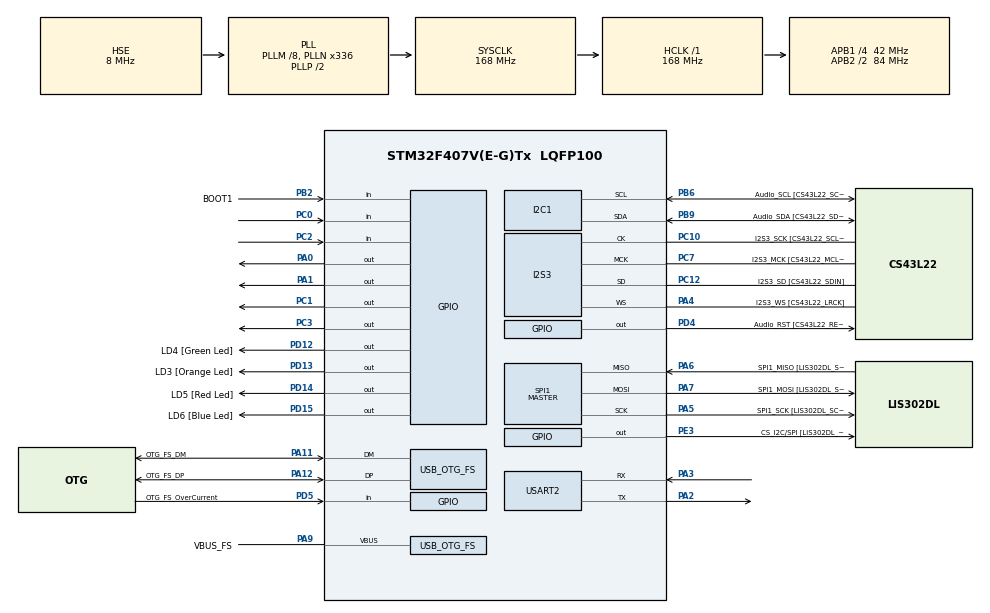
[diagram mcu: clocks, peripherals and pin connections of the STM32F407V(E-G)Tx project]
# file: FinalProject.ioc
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I2S3.AudioFreq-Half_Duplex_Master=I2S_AUDIOFREQ_96K
I2S3.ErrorAudioFreq=-2.34 %
I2S3.ErrorAudioFreq-Half_Duplex_Master=0.8 %
I2S3.FullDuplexMode=I2S_FULLDUPLEXMODE_DISABLE
I2S3.Instance=SPI$Index
I2S3.RealAudioFreq=93.75 KHz
I2S3.RealAudioFreq-Half_Duplex_Master=96.774 KHz
I2S3.VirtualMode=I2S_MODE_MASTER
Mcu.Family=STM32F4
Mcu.Name=STM32F407V(E-G)Tx
Mcu.Package=LQFP100
NVIC.OTG_FS_IRQn=true\:0\:0\:false\:false\:true\:true\:true
NVIC.PriorityGroup=NVIC_PRIORITYGROUP_2
NVIC.TIM3_IRQn=true\:0\:0\:false\:false\:true\:true\:true
NVIC.USART2_IRQn=true\:0\:0\:false\:false\:true\:true\:true
PA0-WKUP.Signal=GPIO_Output
PA1.Signal=GPIO_Output
PA10.GPIO_Label=OTG_FS_ID
PA10.GPIO_Mode=GPIO_MODE_AF_PP
PA10.GPIO_PuPd=GPIO_NOPULL
PA10.GPIO_Speed=GPIO_SPEED_FREQ_LOW
PA10.Signal=USB_OTG_FS_ID
PA11.GPIO_Label=OTG_FS_DM
PA11.GPIO_Mode=GPIO_MODE_AF_PP
PA11.GPIO_PuPd=GPIO_NOPULL
PA11.GPIO_Speed=GPIO_SPEED_FREQ_LOW
PA11.Mode=Host_Only
PA11.Signal=USB_OTG_FS_DM
PA12.GPIO_Label=OTG_FS_DP
PA12.GPIO_Mode=GPIO_MODE_AF_PP
PA12.GPIO_PuPd=GPIO_NOPULL
PA12.GPIO_Speed=GPIO_SPEED_FREQ_LOW
PA12.Mode=Host_Only
PA12.Signal=USB_OTG_FS_DP
PA13.GPIO_Label=SWDIO
PA13.Mode=Serial_Wire
PA13.Signal=SYS_JTMS-SWDIO
PA14.GPIO_Label=SWCLK
PA14.Mode=Serial_Wire
PA14.Signal=SYS_JTCK-SWCLK
PA2.Mode=Asynchronous
PA2.Signal=USART2_TX
PA3.Mode=Asynchronous
PA3.Signal=USART2_RX
PA4.GPIO_Label=I2S3_WS [CS43L22_LRCK]
PA4.GPIO_Mode=GPIO_MODE_AF_PP
PA4.GPIO_PuPd=GPIO_NOPULL
PA4.GPIO_Speed=GPIO_SPEED_FREQ_LOW
PA4.Mode=Half_Duplex_Master
PA4.Signal=I2S3_WS
PA5.GPIO_Label=SPI1_SCK [LIS302DL_SCL/SPC]
PA5.GPIO_Mode=GPIO_MODE_AF_PP
PA5.GPIO_PuPd=GPIO_NOPULL
PA5.GPIO_Speed=GPIO_SPEED_FREQ_LOW
PA5.Mode=Full_Duplex_Master
PA5.Signal=SPI1_SCK
PA6.GPIO_Label=SPI1_MISO [LIS302DL_SDO]
PA6.GPIO_Mode=GPIO_MODE_AF_PP
PA6.GPIO_PuPd=GPIO_NOPULL
PA6.GPIO_Speed=GPIO_SPEED_FREQ_LOW
PA6.Mode=Full_Duplex_Master
PA6.Signal=SPI1_MISO
PA7.GPIO_Label=SPI1_MOSI [LIS302DL_SDA/SDI/SDO]
PA7.GPIO_Mode=GPIO_MODE_AF_PP
PA7.GPIO_PuPd=GPIO_NOPULL
PA7.GPIO_Speed=GPIO_SPEED_FREQ_LOW
PA7.Mode=Full_Duplex_Master
PA7.Signal=SPI1_MOSI
PA9.GPIO_Label=VBUS_FS
PA9.GPIO_Mode=GPIO_MODE_INPUT
PA9.GPIO_PuPd=GPIO_NOPULL
PA9.Mode=Activate_VBUS
PA9.Signal=USB_OTG_FS_VBUS
PB10.GPIO_Label=CLK_IN [MP45DT02_CLK]
PB10.GPIO_Mode=GPIO_MODE_AF_PP
PB10.GPIO_PuPd=GPIO_NOPULL
PB10.GPIO_Speed=GPIO_SPEED_FREQ_LOW
PB10.Signal=I2S2_CK
PB2.GPIO_Label=BOOT1
PB2.GPIO_Mode=GPIO_MODE_INPUT
PB2.GPIO_PuPd=GPIO_NOPULL
PB2.Signal=GPIO_Input
PB3.GPIO_Label=SWO
PB3.Signal=SYS_JTDO-SWO
PB6.GPIO_Label=Audio_SCL [CS43L22_SCL]
PB6.GPIO_Mode=GPIO_MODE_AF_OD
PB6.GPIO_PuPd=GPIO_NOPULL
PB6.GPIO_Speed=GPIO_SPEED_FREQ_LOW
PB6.Mode=I2C
PB6.Signal=I2C1_SCL
PB9.GPIO_Label=Audio_SDA [CS43L22_SDA]
PB9.GPIO_Mode=GPIO_MODE_AF_OD
PB9.GPIO_PuPd=GPIO_NOPULL
PB9.GPIO_Speed=GPIO_SPEED_FREQ_LOW
PB9.Mode=I2C
PB9.Signal=I2C1_SDA
PC0.Signal=GPIO_Input
PC1.Signal=GPIO_Output
PC10.GPIO_Label=I2S3_SCK [CS43L22_SCLK]
PC10.GPIO_Mode=GPIO_MODE_AF_PP
PC10.GPIO_PuPd=GPIO_NOPULL
PC10.GPIO_Speed=GPIO_SPEED_FREQ_LOW
PC10.Mode=Half_Duplex_Master
PC10.Signal=I2S3_CK
PC12.GPIO_Label=I2S3_SD [CS43L22_SDIN]
PC12.GPIO_Mode=GPIO_MODE_AF_PP
PC12.GPIO_PuPd=GPIO_NOPULL
PC12.GPIO_Speed=GPIO_SPEED_FREQ_LOW
PC12.Mode=Half_Duplex_Master
PC12.Signal=I2S3_SD
PC14-OSC32_IN.GPIO_Label=PC14-OSC32_IN
PC14-OSC32_IN.Mode=LSE-External-Oscillator
PC14-OSC32_IN.Signal=RCC_OSC32_IN
PC15-OSC32_OUT.GPIO_Label=PC15-OSC32_OUT
PC15-OSC32_OUT.Mode=LSE-External-Oscillator
PC15-OSC32_OUT.Signal=RCC_OSC32_OUT
PC2.Signal=GPIO_Input
PC3.Signal=GPIO_Output
PC7.GPIO_Label=I2S3_MCK [CS43L22_MCLK]
PC7.GPIO_Mode=GPIO_MODE_AF_PP
PC7.GPIO_PuPd=GPIO_NOPULL
PC7.GPIO_Speed=GPIO_SPEED_FREQ_LOW
PC7.Mode=Master_Clock_Activated
PC7.Signal=I2S3_MCK
PC9.Signal=S_TIM3_CH4
PD12.GPIO_Label=LD4 [Green Led]
PD12.GPIO_PuPd=GPIO_NOPULL
PD12.GPIO_Speed=GPIO_SPEED_FREQ_LOW
PD12.Signal=GPIO_Output
PD13.GPIO_Label=LD3 [Orange Led]
PD13.GPIO_PuPd=GPIO_NOPULL
PD13.GPIO_Speed=GPIO_SPEED_FREQ_LOW
PD13.Signal=GPIO_Output
PD14.GPIO_Label=LD5 [Red Led]
PD14.GPIO_PuPd=GPIO_NOPULL
PD14.GPIO_Speed=GPIO_SPEED_FREQ_LOW
PD14.Signal=GPIO_Output
PD15.GPIO_Label=LD6 [Blue Led]
PD15.GPIO_PuPd=GPIO_NOPULL
PD15.GPIO_Speed=GPIO_SPEED_FREQ_LOW
PD15.Signal=GPIO_Output
PD4.GPIO_Label=Audio_RST [CS43L22_RESET]
PD4.GPIO_PuPd=GPIO_NOPULL
PD4.GPIO_Speed=GPIO_SPEED_FREQ_LOW
PD4.Signal=GPIO_Output
PD5.GPIO_Label=OTG_FS_OverCurrent
PD5.GPIO_Mode=GPIO_MODE_INPUT
PD5.GPIO_PuPd=GPIO_NOPULL
PD5.Signal=GPIO_Input
PE3.GPIO_Label=CS_I2C/SPI [LIS302DL_CS_I2C/SPI]
PE3.GPIO_PuPd=GPIO_NOPULL
PE3.GPIO_Speed=GPIO_SPEED_FREQ_LOW
PE3.Signal=GPIO_Output
PH0-OSC_IN.GPIO_Label=PH0-OSC_IN
PH0-OSC_IN.Mode=HSE-External-Oscillator
PH0-OSC_IN.Signal=RCC_OSC_IN
PH1-OSC_OUT.GPIO_Label=PH1-OSC_OUT
PH1-OSC_OUT.Mode=HSE-External-Oscillator
PH1-OSC_OUT.Signal=RCC_OSC_OUT
ProjectManager.HeapSize=0x200
ProjectManager.StackSize=0x400
ProjectManager.TargetToolchain=STM32CubeIDE
RCC.48MHZClocksFreq_Value=48000000
RCC.AHBFreq_Value=168000000
RCC.APB1CLKDivider=RCC_HCLK_DIV4
RCC.APB1Freq_Value=42000000
RCC.APB1TimFreq_Value=84000000
RCC.APB2CLKDivider=RCC_HCLK_DIV2
RCC.APB2Freq_Value=84000000
RCC.APB2TimFreq_Value=168000000
RCC.CortexFreq_Value=168000000
RCC.HCLKFreq_Value=168000000
RCC.HSE_VALUE=8000000
RCC.HSI_VALUE=16000000
RCC.PLLM=8
RCC.PLLN=336
RCC.PLLQ=7
RCC.SYSCLKFreq_VALUE=168000000
RCC.SYSCLKSource=RCC_SYSCLKSOURCE_PLLCLK
RCC.VCOOutputFreq_Value=336000000
SH.S_TIM3_CH4.0=TIM3_CH4
SPI1.BaudRatePrescaler-Full_Duplex_Master=SPI_BAUDRATEPRESCALER_2
SPI1.CalculateBaudRate-Full_Duplex_Master=42.0 MBits/s
SPI1.Direction=SPI_DIRECTION_2LINES
SPI1.Mode=SPI_MODE_MASTER
SPI1.Mode-Full_Duplex_Master=SPI_MODE_MASTER
SPI1.VirtualType=VM_MASTER
TIM3.AutoReloadPreload=TIM_AUTORELOAD_PRELOAD_ENABLE
TIM3.Channel-PWM\ Generation4\ No\ Output=TIM_CHANNEL_4
TIM3.Period=99
TIM3.Prescaler=84
TIM4.AutoReloadPreload=TIM_AUTORELOAD_PRELOAD_ENABLE
TIM4.Channel-PWM\ Generation1\ No\ Output=TIM_CHANNEL_1
TIM4.Period=99
TIM4.Prescaler=84
USART2.VirtualMode=VM_ASYNC
USB_HOST.USBH_HandleTypeDef-CDC_FS=hUsbHostFS
USB_HOST.VirtualModeFS=Cdc
USB_OTG_FS.VirtualMode=Host_Only
USB_OTG_FS.phy_itface=HCD_PHY_EMBEDDED
VP_TIM3_VS_ClockSourceINT.Mode=Internal
VP_TIM3_VS_no_output4.Mode=PWM Generation4 No Output
VP_TIM4_VS_ClockSourceINT.Mode=Internal
VP_TIM4_VS_no_output1.Mode=PWM Generation1 No Output
VP_USB_HOST_VS_USB_HOST_CDC_FS.Mode=CDC_FS
board=STM32F4DISCOVERY

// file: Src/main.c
/* USER CODE BEGIN Header */
/**
 ******************************************************************************
 * @file           : main.c
 * @brief          : Main program body
 ******************************************************************************
 * @attention
 *
 * <h2><center>&copy; Copyright (c) 2019 STMicroelectronics.
 * All rights reserved.</center></h2>
 *
 * This software component is licensed by ST under Ultimate Liberty license
 * SLA0044, the "License"; You may not use this file except in compliance with
 * the License. You may obtain a copy of the License at:
 *                             www.st.com/SLA0044
 *
 ******************************************************************************
 */
/* USER CODE END Header */

#include "main.h"
#include "usb_host.h"

/* USER CODE BEGIN PD */
#define READY 10
#define IN_USE 11
#define WAITING 12
/* USER CODE END PD */

I2C_HandleTypeDef hi2c1;

I2S_HandleTypeDef hi2s3;

SPI_HandleTypeDef hspi1;

TIM_HandleTypeDef htim3;
TIM_HandleTypeDef htim4;

UART_HandleTypeDef huart2;

/* USER CODE BEGIN PV */
char slots[2] = { '0', '0' };
char buf[2] = { '0', '0' };
uint32_t sensor_1_time, sensor_2_time, state1, state2;
/* USER CODE END PV */

void SystemClock_Config(void);
static void MX_GPIO_Init(void);
static void MX_I2C1_Init(void);
static void MX_I2S3_Init(void);
static void MX_SPI1_Init(void);
static void MX_USART2_UART_Init(void);
static void MX_TIM3_Init(void);
static void MX_TIM4_Init(void);
void MX_USB_HOST_Process(void);

/* USER CODE BEGIN PFP */

uint32_t Slot1() {
	uint32_t local_time = 0;

	HAL_GPIO_WritePin(GPIOC, GPIO_PIN_1, GPIO_PIN_SET);
	HAL_Delay(10);
	HAL_GPIO_WritePin(GPIOC, GPIO_PIN_1, GPIO_PIN_RESET);

	while (!(HAL_GPIO_ReadPin(GPIOC, GPIO_PIN_0)))
		;

	while (HAL_GPIO_ReadPin(GPIOC, GPIO_PIN_0)) {
		local_time++;
		HAL_Delay(1);
	}

	return local_time * 2;
}

uint32_t Slot2() {
	uint32_t local_time = 0;

	HAL_GPIO_WritePin(GPIOC, GPIO_PIN_3, GPIO_PIN_SET);
	HAL_Delay(10);
	HAL_GPIO_WritePin(GPIOC, GPIO_PIN_3, GPIO_PIN_RESET);

	while (!(HAL_GPIO_ReadPin(GPIOC, GPIO_PIN_2)))
		;

	while (HAL_GPIO_ReadPin(GPIOC, GPIO_PIN_2)) {
		local_time++;
		HAL_Delay(1);
	}

	return local_time * 2;
}

/* USER CODE END PFP */

int main(void)
{

  /* MCU Configuration--------------------------------------------------------*/

  /* Reset of all peripherals, Initializes the Flash interface and the Systick. */
  HAL_Init();

  /* Configure the system clock */
  SystemClock_Config();

  /* Initialize all configured peripherals */
  MX_GPIO_Init();
  MX_I2C1_Init();
  MX_I2S3_Init();
  MX_SPI1_Init();
  MX_USB_HOST_Init();
  MX_USART2_UART_Init();
  MX_TIM3_Init();
  MX_TIM4_Init();
  /* USER CODE BEGIN 2 */
  HAL_TIM_Base_Start_IT(&htim3);

  /* USER CODE END 2 */

  /* Infinite loop */
  /* USER CODE BEGIN WHILE */
  state1 = READY;
  state2 = READY;
	while (1) {
		sensor_1_time = Slot1();
		sensor_2_time = Slot2();

		if (sensor_1_time <= 2)
			slots[0] = '1';
		else
			slots[0] = '0';
		if (sensor_2_time <= 2)
			slots[1] = '1';
		else
			slots[1] = '0';

		if (state1 == IN_USE)
			HAL_GPIO_WritePin(GPIOA, GPIO_PIN_0, GPIO_PIN_RESET);
		else if (state1 == WAITING)
			HAL_GPIO_TogglePin(GPIOA, GPIO_PIN_0);
		else
			HAL_GPIO_WritePin(GPIOA, GPIO_PIN_0, GPIO_PIN_SET);

		if (state2 == IN_USE)
			HAL_GPIO_WritePin(GPIOA, GPIO_PIN_1, GPIO_PIN_RESET);
		else if (state2 == WAITING)
			HAL_GPIO_TogglePin(GPIOA, GPIO_PIN_1);
		else
			HAL_GPIO_WritePin(GPIOA, GPIO_PIN_1, GPIO_PIN_SET);

		HAL_UART_Receive_IT(&huart2, buf, 2);

		if ('1' == (char) buf[0] && state1 == READY){
			buf[0] = '0';
			state1 = WAITING;
		}
		else if ('2' == (char) buf[0] && state1 == WAITING){
			buf[0] = '0';
			state1 = READY;
		}

		if ('1' == (char) buf[1] && state2 == READY){
			buf[1] = '0';
			state2 = WAITING;
		}
		else if ('2' == (char) buf[1] && state2 == WAITING){
			buf[1] = '0';
			state2 = READY;
		}
		HAL_UART_Transmit(&huart2, slots, 2, 900);

		HAL_Delay(10);
    /* USER CODE END WHILE */
    MX_USB_HOST_Process();

    /* USER CODE BEGIN 3 */
	}
}

void HAL_TIM_PeriodElapsedCallback(TIM_HandleTypeDef *htim) {
	if (state1 == WAITING && slots[0] == '1')
		state1 = IN_USE;
	if (state2 == WAITING && slots[1] == '1')
		state2 = IN_USE;

	if (state1 == IN_USE && slots[0] == '0')
		state1 = READY;
	if (state2 == IN_USE && slots[1] == '0')
		state2 = READY;

  /* USER CODE END 3 */
}

void SystemClock_Config(void)
{
  RCC_OscInitTypeDef RCC_OscInitStruct = {0};
  RCC_ClkInitTypeDef RCC_ClkInitStruct = {0};
  RCC_PeriphCLKInitTypeDef PeriphClkInitStruct = {0};

  /** Configure the main internal regulator output voltage
  */
  __HAL_RCC_PWR_CLK_ENABLE();
  __HAL_PWR_VOLTAGESCALING_CONFIG(PWR_REGULATOR_VOLTAGE_SCALE1);
  /** Initializes the CPU, AHB and APB busses clocks
  */
  RCC_OscInitStruct.OscillatorType = RCC_OSCILLATORTYPE_HSE;
  RCC_OscInitStruct.HSEState = RCC_HSE_ON;
  RCC_OscInitStruct.PLL.PLLState = RCC_PLL_ON;
  RCC_OscInitStruct.PLL.PLLSource = RCC_PLLSOURCE_HSE;
  RCC_OscInitStruct.PLL.PLLM = 8;
  RCC_OscInitStruct.PLL.PLLN = 336;
  RCC_OscInitStruct.PLL.PLLP = RCC_PLLP_DIV2;
  RCC_OscInitStruct.PLL.PLLQ = 7;
  if (HAL_RCC_OscConfig(&RCC_OscInitStruct) != HAL_OK)
  {
    Error_Handler();
  }
  /** Initializes the CPU, AHB and APB busses clocks
  */
  RCC_ClkInitStruct.ClockType = RCC_CLOCKTYPE_HCLK|RCC_CLOCKTYPE_SYSCLK
                              |RCC_CLOCKTYPE_PCLK1|RCC_CLOCKTYPE_PCLK2;
  RCC_ClkInitStruct.SYSCLKSource = RCC_SYSCLKSOURCE_PLLCLK;
  RCC_ClkInitStruct.AHBCLKDivider = RCC_SYSCLK_DIV1;
  RCC_ClkInitStruct.APB1CLKDivider = RCC_HCLK_DIV4;
  RCC_ClkInitStruct.APB2CLKDivider = RCC_HCLK_DIV2;

  if (HAL_RCC_ClockConfig(&RCC_ClkInitStruct, FLASH_LATENCY_5) != HAL_OK)
  {
    Error_Handler();
  }
  PeriphClkInitStruct.PeriphClockSelection = RCC_PERIPHCLK_I2S;
  PeriphClkInitStruct.PLLI2S.PLLI2SN = 192;
  PeriphClkInitStruct.PLLI2S.PLLI2SR = 2;
  if (HAL_RCCEx_PeriphCLKConfig(&PeriphClkInitStruct) != HAL_OK)
  {
    Error_Handler();
  }
}

static void MX_I2C1_Init(void)
{

  hi2c1.Instance = I2C1;
  hi2c1.Init.ClockSpeed = 100000;
  hi2c1.Init.DutyCycle = I2C_DUTYCYCLE_2;
  hi2c1.Init.OwnAddress1 = 0;
  hi2c1.Init.AddressingMode = I2C_ADDRESSINGMODE_7BIT;
  hi2c1.Init.DualAddressMode = I2C_DUALADDRESS_DISABLE;
  hi2c1.Init.OwnAddress2 = 0;
  hi2c1.Init.GeneralCallMode = I2C_GENERALCALL_DISABLE;
  hi2c1.Init.NoStretchMode = I2C_NOSTRETCH_DISABLE;
  if (HAL_I2C_Init(&hi2c1) != HAL_OK)
  {
    Error_Handler();
  }

}

static void MX_I2S3_Init(void)
{

  hi2s3.Instance = SPI3;
  hi2s3.Init.Mode = I2S_MODE_MASTER_TX;
  hi2s3.Init.Standard = I2S_STANDARD_PHILIPS;
  hi2s3.Init.DataFormat = I2S_DATAFORMAT_16B;
  hi2s3.Init.MCLKOutput = I2S_MCLKOUTPUT_ENABLE;
  hi2s3.Init.AudioFreq = I2S_AUDIOFREQ_96K;
  hi2s3.Init.CPOL = I2S_CPOL_LOW;
  hi2s3.Init.ClockSource = I2S_CLOCK_PLL;
  hi2s3.Init.FullDuplexMode = I2S_FULLDUPLEXMODE_DISABLE;
  if (HAL_I2S_Init(&hi2s3) != HAL_OK)
  {
    Error_Handler();
  }

}

static void MX_SPI1_Init(void)
{

  /* SPI1 parameter configuration*/
  hspi1.Instance = SPI1;
  hspi1.Init.Mode = SPI_MODE_MASTER;
  hspi1.Init.Direction = SPI_DIRECTION_2LINES;
  hspi1.Init.DataSize = SPI_DATASIZE_8BIT;
  hspi1.Init.CLKPolarity = SPI_POLARITY_LOW;
  hspi1.Init.CLKPhase = SPI_PHASE_1EDGE;
  hspi1.Init.NSS = SPI_NSS_SOFT;
  hspi1.Init.BaudRatePrescaler = SPI_BAUDRATEPRESCALER_2;
  hspi1.Init.FirstBit = SPI_FIRSTBIT_MSB;
  hspi1.Init.TIMode = SPI_TIMODE_DISABLE;
  hspi1.Init.CRCCalculation = SPI_CRCCALCULATION_DISABLE;
  hspi1.Init.CRCPolynomial = 10;
  if (HAL_SPI_Init(&hspi1) != HAL_OK)
  {
    Error_Handler();
  }

}

static void MX_TIM3_Init(void)
{

  TIM_ClockConfigTypeDef sClockSourceConfig = {0};
  TIM_MasterConfigTypeDef sMasterConfig = {0};
  TIM_OC_InitTypeDef sConfigOC = {0};

  htim3.Instance = TIM3;
  htim3.Init.Prescaler = 84;
  htim3.Init.CounterMode = TIM_COUNTERMODE_UP;
  htim3.Init.Period = 99;
  htim3.Init.ClockDivision = TIM_CLOCKDIVISION_DIV1;
  htim3.Init.AutoReloadPreload = TIM_AUTORELOAD_PRELOAD_ENABLE;
  if (HAL_TIM_Base_Init(&htim3) != HAL_OK)
  {
    Error_Handler();
  }
  sClockSourceConfig.ClockSource = TIM_CLOCKSOURCE_INTERNAL;
  if (HAL_TIM_ConfigClockSource(&htim3, &sClockSourceConfig) != HAL_OK)
  {
    Error_Handler();
  }
  if (HAL_TIM_PWM_Init(&htim3) != HAL_OK)
  {
    Error_Handler();
  }
  sMasterConfig.MasterOutputTrigger = TIM_TRGO_RESET;
  sMasterConfig.MasterSlaveMode = TIM_MASTERSLAVEMODE_DISABLE;
  if (HAL_TIMEx_MasterConfigSynchronization(&htim3, &sMasterConfig) != HAL_OK)
  {
    Error_Handler();
  }
  sConfigOC.OCMode = TIM_OCMODE_PWM1;
  sConfigOC.Pulse = 0;
  sConfigOC.OCPolarity = TIM_OCPOLARITY_HIGH;
  sConfigOC.OCFastMode = TIM_OCFAST_DISABLE;
  if (HAL_TIM_PWM_ConfigChannel(&htim3, &sConfigOC, TIM_CHANNEL_4) != HAL_OK)
  {
    Error_Handler();
  }

}

static void MX_TIM4_Init(void)
{

  TIM_ClockConfigTypeDef sClockSourceConfig = {0};
  TIM_MasterConfigTypeDef sMasterConfig = {0};
  TIM_OC_InitTypeDef sConfigOC = {0};

  htim4.Instance = TIM4;
  htim4.Init.Prescaler = 84;
  htim4.Init.CounterMode = TIM_COUNTERMODE_UP;
  htim4.Init.Period = 99;
  htim4.Init.ClockDivision = TIM_CLOCKDIVISION_DIV1;
  htim4.Init.AutoReloadPreload = TIM_AUTORELOAD_PRELOAD_ENABLE;
  if (HAL_TIM_Base_Init(&htim4) != HAL_OK)
  {
    Error_Handler();
  }
  sClockSourceConfig.ClockSource = TIM_CLOCKSOURCE_INTERNAL;
  if (HAL_TIM_ConfigClockSource(&htim4, &sClockSourceConfig) != HAL_OK)
  {
    Error_Handler();
  }
  if (HAL_TIM_PWM_Init(&htim4) != HAL_OK)
  {
    Error_Handler();
  }
  sMasterConfig.MasterOutputTrigger = TIM_TRGO_RESET;
  sMasterConfig.MasterSlaveMode = TIM_MASTERSLAVEMODE_DISABLE;
  if (HAL_TIMEx_MasterConfigSynchronization(&htim4, &sMasterConfig) != HAL_OK)
  {
    Error_Handler();
  }
  sConfigOC.OCMode = TIM_OCMODE_PWM1;
  sConfigOC.Pulse = 0;
  sConfigOC.OCPolarity = TIM_OCPOLARITY_HIGH;
  sConfigOC.OCFastMode = TIM_OCFAST_DISABLE;
  if (HAL_TIM_PWM_ConfigChannel(&htim4, &sConfigOC, TIM_CHANNEL_1) != HAL_OK)
  {
    Error_Handler();
  }

}

static void MX_USART2_UART_Init(void)
{

  huart2.Instance = USART2;
  huart2.Init.BaudRate = 115200;
  huart2.Init.WordLength = UART_WORDLENGTH_8B;
  huart2.Init.StopBits = UART_STOPBITS_1;
  huart2.Init.Parity = UART_PARITY_NONE;
  huart2.Init.Mode = UART_MODE_TX_RX;
  huart2.Init.HwFlowCtl = UART_HWCONTROL_NONE;
  huart2.Init.OverSampling = UART_OVERSAMPLING_16;
  if (HAL_UART_Init(&huart2) != HAL_OK)
  {
    Error_Handler();
  }

}

static void MX_GPIO_Init(void)
{
  GPIO_InitTypeDef GPIO_InitStruct = {0};

  /* GPIO Ports Clock Enable */
  __HAL_RCC_GPIOE_CLK_ENABLE();
  __HAL_RCC_GPIOC_CLK_ENABLE();
  __HAL_RCC_GPIOH_CLK_ENABLE();
  __HAL_RCC_GPIOA_CLK_ENABLE();
  __HAL_RCC_GPIOB_CLK_ENABLE();
  __HAL_RCC_GPIOD_CLK_ENABLE();

  /*Configure GPIO pin Output Level */
  HAL_GPIO_WritePin(CS_I2C_SPI_GPIO_Port, CS_I2C_SPI_Pin, GPIO_PIN_RESET);

  /*Configure GPIO pin Output Level */
  HAL_GPIO_WritePin(GPIOC, GPIO_PIN_1|GPIO_PIN_3, GPIO_PIN_RESET);

  /*Configure GPIO pin Output Level */
  HAL_GPIO_WritePin(GPIOA, GPIO_PIN_0|GPIO_PIN_1, GPIO_PIN_RESET);

  /*Configure GPIO pin Output Level */
  HAL_GPIO_WritePin(GPIOD, LD4_Pin|LD3_Pin|LD5_Pin|LD6_Pin
                          |Audio_RST_Pin, GPIO_PIN_RESET);

  /*Configure GPIO pin : CS_I2C_SPI_Pin */
  GPIO_InitStruct.Pin = CS_I2C_SPI_Pin;
  GPIO_InitStruct.Mode = GPIO_MODE_OUTPUT_PP;
  GPIO_InitStruct.Pull = GPIO_NOPULL;
  GPIO_InitStruct.Speed = GPIO_SPEED_FREQ_LOW;
  HAL_GPIO_Init(CS_I2C_SPI_GPIO_Port, &GPIO_InitStruct);

  /*Configure GPIO pins : PC0 PC2 */
  GPIO_InitStruct.Pin = GPIO_PIN_0|GPIO_PIN_2;
  GPIO_InitStruct.Mode = GPIO_MODE_INPUT;
  GPIO_InitStruct.Pull = GPIO_NOPULL;
  HAL_GPIO_Init(GPIOC, &GPIO_InitStruct);

  /*Configure GPIO pins : PC1 PC3 */
  GPIO_InitStruct.Pin = GPIO_PIN_1|GPIO_PIN_3;
  GPIO_InitStruct.Mode = GPIO_MODE_OUTPUT_PP;
  GPIO_InitStruct.Pull = GPIO_NOPULL;
  GPIO_InitStruct.Speed = GPIO_SPEED_FREQ_LOW;
  HAL_GPIO_Init(GPIOC, &GPIO_InitStruct);

  /*Configure GPIO pins : PA0 PA1 */
  GPIO_InitStruct.Pin = GPIO_PIN_0|GPIO_PIN_1;
  GPIO_InitStruct.Mode = GPIO_MODE_OUTPUT_PP;
  GPIO_InitStruct.Pull = GPIO_NOPULL;
  GPIO_InitStruct.Speed = GPIO_SPEED_FREQ_LOW;
  HAL_GPIO_Init(GPIOA, &GPIO_InitStruct);

  /*Configure GPIO pin : BOOT1_Pin */
  GPIO_InitStruct.Pin = BOOT1_Pin;
  GPIO_InitStruct.Mode = GPIO_MODE_INPUT;
  GPIO_InitStruct.Pull = GPIO_NOPULL;
  HAL_GPIO_Init(BOOT1_GPIO_Port, &GPIO_InitStruct);

  /*Configure GPIO pin : CLK_IN_Pin */
  GPIO_InitStruct.Pin = CLK_IN_Pin;
  GPIO_InitStruct.Mode = GPIO_MODE_AF_PP;
  GPIO_InitStruct.Pull = GPIO_NOPULL;
  GPIO_InitStruct.Speed = GPIO_SPEED_FREQ_LOW;
  GPIO_InitStruct.Alternate = GPIO_AF5_SPI2;
  HAL_GPIO_Init(CLK_IN_GPIO_Port, &GPIO_InitStruct);

  /*Configure GPIO pins : LD4_Pin LD3_Pin LD5_Pin LD6_Pin
                           Audio_RST_Pin */
  GPIO_InitStruct.Pin = LD4_Pin|LD3_Pin|LD5_Pin|LD6_Pin
                          |Audio_RST_Pin;
  GPIO_InitStruct.Mode = GPIO_MODE_OUTPUT_PP;
  GPIO_InitStruct.Pull = GPIO_NOPULL;
  GPIO_InitStruct.Speed = GPIO_SPEED_FREQ_LOW;
  HAL_GPIO_Init(GPIOD, &GPIO_InitStruct);

  /*Configure GPIO pin : OTG_FS_OverCurrent_Pin */
  GPIO_InitStruct.Pin = OTG_FS_OverCurrent_Pin;
  GPIO_InitStruct.Mode = GPIO_MODE_INPUT;
  GPIO_InitStruct.Pull = GPIO_NOPULL;
  HAL_GPIO_Init(OTG_FS_OverCurrent_GPIO_Port, &GPIO_InitStruct);

}

void Error_Handler(void)
{
}

/************************ (C) COPYRIGHT STMicroelectronics *****END OF FILE****/
